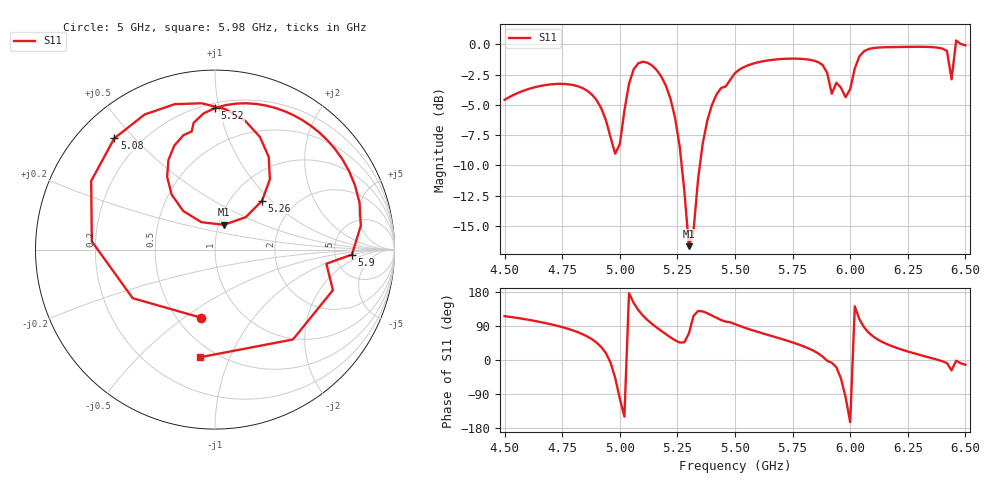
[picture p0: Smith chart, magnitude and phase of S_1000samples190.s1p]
! TOUCHSTONE file generated by CST MICROWAVE STUDIO
! Date and time: Thu Oct 27 07:53:29 2022
! Project name: L.cst
! Parameters = {Di=1.27; Epsilon_r=1.56; InnerDiameter=1.27; Length=2; Lf=10; Lg=60; OuterConductorThickness=0.2921; OuterDiameter=3.6; Wf=3; Wp=41.2; de=1.5; df=6.8; g=0.8; gx=0.503561; gy=3.68199; h=2.34; hf=1.524; px=13.4958; py=8.76239; w=9.7; wx=12.9922; wy=5.0804}
! Header version: 2018
! Port assignment regex: !\s*Touchstone port\s*([0-9]+)\s*=\s*(CST MWS port|CST DS port)\s*([0-9]+|Zmin|Zmax)\s*\(\"(.*)\"\)(\s*mode\s*([0-9]+))?.*
! Touchstone port assignment:
! Touchstone port 1 = CST MWS port 1 ("")
# GHz S DB R 50
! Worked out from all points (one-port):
!   101 points, 4.5 GHz to 6.5 GHz, reference 50 ohm
!   lowest |S11| = -16.7 dB at 5.3 GHz (marker M1), VSWR 1.34, Z = 53.1 + j15 ohm
!   |S11| at or under -10 dB: 5.269 GHz to 5.347 GHz (78.89 MHz wide, 1.49 % of centre)
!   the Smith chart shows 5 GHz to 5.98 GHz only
!   S11 on the Smith chart (normalised r, x): 5 GHz: 0.65, -0.58; 5.08 GHz: 0.11, +0.44; 5.26 GHz: 1.39, +0.88; 5.52 GHz: 0.23, +0.97; 5.9 GHz: 7.33, -0.97; 5.98 GHz: 0.41, -0.78
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4.5  -4.57 115.6
4.76  -3.27 85.1
4.86  -3.84 61.7
4.94  -6.28 17.7
4.98  -9.03 -47.0
5  -8.25 -101.8
5.04  -3.25 176.2
5.08  -1.56 132.2
5.16  -2.11 85.8
5.26  -8.44 46.1
5.3  -16.67 70.2
5.38  -6.27 123.3
5.5  -2.37 94.8
5.52  -2.07 90.1
5.76  -1.17 44.4
5.9  -2.34 -2.1
5.94  -3.16 -19.0
5.96  -3.57 -49.0
5.98  -4.36 -97.8
6  -3.69 -164.1
6.02  -1.98 141.6
6.06  -0.56 86.6
6.14  -0.24 47.4
6.26  -0.20 20.7
6.42  -0.54 -8.1
6.44  -2.88 -27.3
6.46  0.33 -1.8
6.5  -0.07 -12.5
